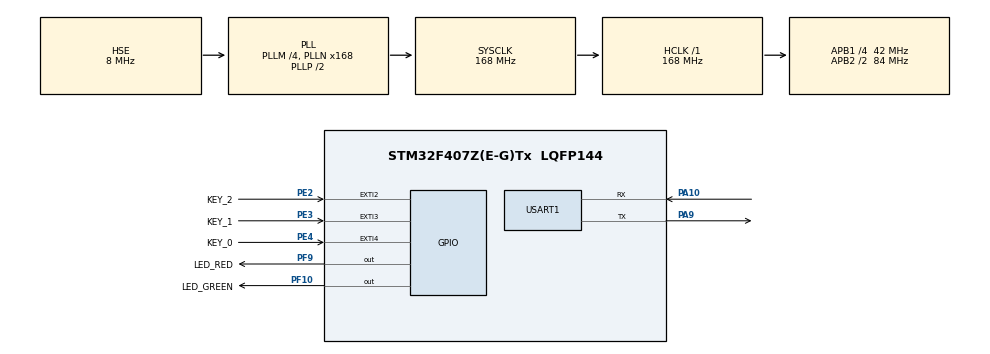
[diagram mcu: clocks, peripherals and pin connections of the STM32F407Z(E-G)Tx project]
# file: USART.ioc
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Mcu.Family=STM32F4
Mcu.Name=STM32F407Z(E-G)Tx
Mcu.Package=LQFP144
NVIC.EXTI2_IRQn=true\:1\:0\:true\:false\:true\:true\:true\:true
NVIC.EXTI3_IRQn=true\:2\:0\:true\:false\:true\:true\:true\:true
NVIC.EXTI4_IRQn=true\:3\:0\:true\:false\:true\:true\:true\:true
NVIC.PriorityGroup=NVIC_PRIORITYGROUP_4
NVIC.TIM2_IRQn=true\:0\:0\:false\:false\:true\:true\:true\:true
PA10.Mode=Asynchronous
PA10.Signal=USART1_RX
PA9.Mode=Asynchronous
PA9.Signal=USART1_TX
PB8.Signal=I2C1_SCL
PB9.Signal=I2C1_SDA
PC14-OSC32_IN.Mode=LSE-External-Oscillator
PC14-OSC32_IN.Signal=RCC_OSC32_IN
PC15-OSC32_OUT.Mode=LSE-External-Oscillator
PC15-OSC32_OUT.Signal=RCC_OSC32_OUT
PE2.GPIO_Label=KEY_2
PE2.GPIO_ModeDefaultEXTI=GPIO_MODE_IT_RISING
PE2.GPIO_PuPd=GPIO_PULLUP
PE2.Signal=GPXTI2
PE3.GPIO_Label=KEY_1
PE3.GPIO_ModeDefaultEXTI=GPIO_MODE_IT_FALLING
PE3.GPIO_PuPd=GPIO_PULLUP
PE3.Signal=GPXTI3
PE4.GPIO_Label=KEY_0
PE4.GPIO_ModeDefaultEXTI=GPIO_MODE_IT_RISING_FALLING
PE4.GPIO_PuPd=GPIO_PULLUP
PE4.Signal=GPXTI4
PF10.GPIO_Label=LED_GREEN
PF10.GPIO_PuPd=GPIO_PULLUP
PF10.Signal=GPIO_Output
PF9.GPIO_Label=LED_RED
PF9.GPIO_PuPd=GPIO_PULLUP
PF9.Signal=GPIO_Output
PH0-OSC_IN.Mode=HSE-External-Oscillator
PH0-OSC_IN.Signal=RCC_OSC_IN
PH1-OSC_OUT.Mode=HSE-External-Oscillator
PH1-OSC_OUT.Signal=RCC_OSC_OUT
ProjectManager.HeapSize=0x200
ProjectManager.StackSize=0x400
ProjectManager.TargetToolchain=MDK-ARM V5.32
RCC.48MHZClocksFreq_Value=84000000
RCC.AHBFreq_Value=168000000
RCC.APB1CLKDivider=RCC_HCLK_DIV4
RCC.APB1Freq_Value=42000000
RCC.APB1TimFreq_Value=84000000
RCC.APB2CLKDivider=RCC_HCLK_DIV2
RCC.APB2Freq_Value=84000000
RCC.APB2TimFreq_Value=168000000
RCC.CortexFreq_Value=168000000
RCC.HCLKFreq_Value=168000000
RCC.HSE_VALUE=8000000
RCC.HSI_VALUE=16000000
RCC.PLLM=4
RCC.PLLN=168
RCC.PLLSourceVirtual=RCC_PLLSOURCE_HSE
RCC.SYSCLKFreq_VALUE=168000000
RCC.SYSCLKSource=RCC_SYSCLKSOURCE_PLLCLK
RCC.VCOOutputFreq_Value=336000000
TIM2.AutoReloadPreload=TIM_AUTORELOAD_PRELOAD_ENABLE
TIM2.Period=10000-1
TIM2.Prescaler=8400-1
USART1.VirtualMode=VM_ASYNC
VP_TIM2_VS_ClockSourceINT.Mode=Internal
board=custom

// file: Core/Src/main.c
/* USER CODE BEGIN Header */
/**
  ******************************************************************************
  * @file           : main.c
  * @brief          : Main program body
  ******************************************************************************
  * @attention
  *
  * Copyright (c) 2024 STMicroelectronics.
  * All rights reserved.
  *
  * This software is licensed under terms that can be found in the LICENSE file
  * in the root directory of this software component.
  * If no LICENSE file comes with this software, it is provided AS-IS.
  *
  ******************************************************************************
  */
/* USER CODE END Header */
#include "main.h"
#include "tim.h"
#include "usart.h"
#include "gpio.h"

/* USER CODE BEGIN Includes */
#include "string.h"
#include <stdio.h>

/* USER CODE END Includes */

/* USER CODE BEGIN PV */

uint32_t count = 0;
uint32_t timer6_count = 0;

/* USER CODE END PV */

void SystemClock_Config(void);

int main(void)
{

  /* MCU Configuration--------------------------------------------------------*/

  /* Reset of all peripherals, Initializes the Flash interface and the Systick. */
  HAL_Init();

  /* Configure the system clock */
  SystemClock_Config();

  /* Initialize all configured peripherals */
  MX_GPIO_Init();
  MX_USART1_UART_Init();
  MX_TIM2_Init();
  /* USER CODE BEGIN 2 */

  HAL_TIM_Base_Start_IT(&htim2);//在这个地方加入定时器中断启动函数

  char *msg = "Hello, USART!\r\n";
  HAL_UART_Transmit(&huart1, (uint8_t *)msg, strlen(msg), HAL_MAX_DELAY);
  HAL_GPIO_WritePin(GPIOF, LED_RED_Pin, GPIO_PIN_SET);

  /* USER CODE END 2 */

  /* Infinite loop */
  while (1)
  {

  }
}

void SystemClock_Config(void)
{
  RCC_OscInitTypeDef RCC_OscInitStruct = {0};
  RCC_ClkInitTypeDef RCC_ClkInitStruct = {0};

  /** Configure the main internal regulator output voltage
  */
  __HAL_RCC_PWR_CLK_ENABLE();
  __HAL_PWR_VOLTAGESCALING_CONFIG(PWR_REGULATOR_VOLTAGE_SCALE1);

  /** Initializes the RCC Oscillators according to the specified parameters
  * in the RCC_OscInitTypeDef structure.
  */
  RCC_OscInitStruct.OscillatorType = RCC_OSCILLATORTYPE_HSE;
  RCC_OscInitStruct.HSEState = RCC_HSE_ON;
  RCC_OscInitStruct.PLL.PLLState = RCC_PLL_ON;
  RCC_OscInitStruct.PLL.PLLSource = RCC_PLLSOURCE_HSE;
  RCC_OscInitStruct.PLL.PLLM = 4;
  RCC_OscInitStruct.PLL.PLLN = 168;
  RCC_OscInitStruct.PLL.PLLP = RCC_PLLP_DIV2;
  RCC_OscInitStruct.PLL.PLLQ = 4;
  if (HAL_RCC_OscConfig(&RCC_OscInitStruct) != HAL_OK)
  {
    Error_Handler();
  }

  /** Initializes the CPU, AHB and APB buses clocks
  */
  RCC_ClkInitStruct.ClockType = RCC_CLOCKTYPE_HCLK|RCC_CLOCKTYPE_SYSCLK
                              |RCC_CLOCKTYPE_PCLK1|RCC_CLOCKTYPE_PCLK2;
  RCC_ClkInitStruct.SYSCLKSource = RCC_SYSCLKSOURCE_PLLCLK;
  RCC_ClkInitStruct.AHBCLKDivider = RCC_SYSCLK_DIV1;
  RCC_ClkInitStruct.APB1CLKDivider = RCC_HCLK_DIV4;
  RCC_ClkInitStruct.APB2CLKDivider = RCC_HCLK_DIV2;

  if (HAL_RCC_ClockConfig(&RCC_ClkInitStruct, FLASH_LATENCY_5) != HAL_OK)
  {
    Error_Handler();
  }
}

/* USER CODE BEGIN 4 */

void HAL_GPIO_EXTI_Callback(uint16_t GPIO_Pin)
{
  if (GPIO_Pin == GPIO_PIN_2) {
    HAL_Delay(10);
    if (GPIO_Pin == GPIO_PIN_2) {
      HAL_GPIO_TogglePin (GPIOF, LED_GREEN_Pin);
      count++;
      char buffer[11]; // uint32_t 最大值为10位数 + 1 位结束符
      snprintf(buffer, sizeof(buffer), "%lu\r\n", count); // 使用snprintf将数字转换为字符串
      HAL_UART_Transmit(&huart1, (uint8_t *)buffer, strlen(buffer), HAL_MAX_DELAY);
    }
  } else if (GPIO_Pin == GPIO_PIN_3) {
    HAL_Delay(10);
    if (GPIO_Pin == GPIO_PIN_3) {
      HAL_GPIO_TogglePin (GPIOF, LED_RED_Pin);
    }
  } else if (GPIO_Pin == GPIO_PIN_4) {
    HAL_Delay(10);
    if (GPIO_Pin == GPIO_PIN_4) {
      HAL_GPIO_TogglePin (GPIOF, LED_GREEN_Pin | LED_RED_Pin);
    }
  }

	// HAL_Delay(100);
  __HAL_GPIO_EXTI_CLEAR_IT(GPIO_Pin);
}

/**
  * @brief  Period elapsed callback in non-blocking mode
  * @param  htim TIM handle
  * @retval None
  */
void HAL_TIM_PeriodElapsedCallback(TIM_HandleTypeDef *htim)
{
  if (htim == &htim2) {
    timer6_count++;
    char buffer[11]; // uint32_t 最大值为10位数 + 1 位结束符
    snprintf(buffer, sizeof(buffer), "%lu\r\n", timer6_count); // 使用snprintf将数字转换为字符串
    HAL_UART_Transmit(&huart1, (uint8_t *)buffer, strlen(buffer), HAL_MAX_DELAY);
  }
}

/* USER CODE END 4 */

void Error_Handler(void)
{
  __disable_irq();
  while (1)
  {
  }
}
